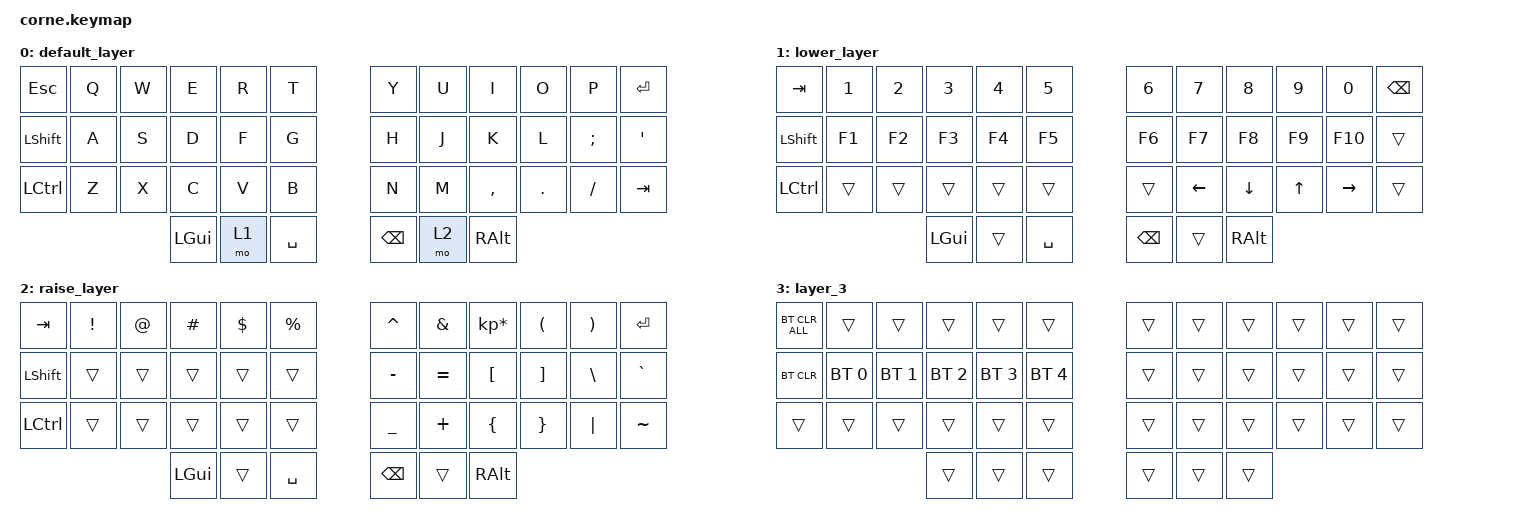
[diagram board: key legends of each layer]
/*
 * Copyright (c) 2020 The ZMK Contributors
 *
 * SPDX-License-Identifier: MIT
 */

#include <behaviors.dtsi>
#include <dt-bindings/zmk/bt.h>
#include <dt-bindings/zmk/keys.h>

/ {
    combos {
        compatible = "zmk,combos";

        layer3 {
            bindings = <&mo 3>;
            key-positions = <37 40>;
        };
    };

    keymap {
        compatible = "zmk,keymap";

        default_layer {
            // -----------------------------------------------------------------------------------------
            // |  TAB |  Q  |  W  |  E  |  R  |  T  |   |  Y  |  U   |  I  |  O  |  P  | BKSP |
            // | CTRL |  A  |  S  |  D  |  F  |  G  |   |  H  |  J   |  K  |  L  |  ;  |  '   |
            // | SHFT |  Z  |  X  |  C  |  V  |  B  |   |  N  |  M   |  ,  |  .  |  /  | ESC  |
            //                    | GUI | LWR | SPC |   | ENT | RSE  | ALT |

            bindings = <
&kp ESC           &kp Q  &kp W  &kp E     &kp R  &kp T        &kp Y          &kp U  &kp I      &kp O    &kp P     &kp ENTER
&kp LEFT_SHIFT    &kp A  &kp S  &kp D     &kp F  &kp G        &kp H          &kp J  &kp K      &kp L    &kp SEMI  &kp SQT
&kp LEFT_CONTROL  &kp Z  &kp X  &kp C     &kp V  &kp B        &kp N          &kp M  &kp COMMA  &kp DOT  &kp FSLH  &kp TAB
                                &kp LGUI  &mo 1  &kp SPACE    &kp BACKSPACE  &mo 2  &kp RALT
            >;
        };

        lower_layer {
            // -----------------------------------------------------------------------------------------
            // |  TAB |  1  |  2  |  3  |  4  |  5  |   |  6  |  7  |  8  |  9  |  0  | BKSP |
            // | BTCLR| BT1 | BT2 | BT3 | BT4 | BT5 |   | LFT | DWN |  UP | RGT |     |      |
            // | SHFT |     |     |     |     |     |   |     |     |     |     |     |      |
            //                    | GUI |     | SPC |   | ENT |     | ALT |

            bindings = <
&kp TAB           &kp N1  &kp N2  &kp N3    &kp N4  &kp N5       &kp N6         &kp N7          &kp N8    &kp N9        &kp N0     &kp BSPC
&kp LEFT_SHIFT    &kp F1  &kp F2  &kp F3    &kp F4  &kp F5       &kp F6         &kp F7          &kp F8    &kp F9        &kp F10    &trans
&kp LEFT_CONTROL  &trans  &trans  &trans    &trans  &trans       &trans         &kp LEFT_ARROW  &kp DOWN  &kp UP_ARROW  &kp RIGHT  &trans
                                  &kp LGUI  &trans  &kp SPACE    &kp BACKSPACE  &trans          &kp RALT
            >;
        };

        raise_layer {
            // -----------------------------------------------------------------------------------------
            // |  TAB |  !  |  @  |  #  |  $  |  %  |   |  ^  |  &  |  *  |  (  |  )  | BKSP |
            // | CTRL |     |     |     |     |     |   |  -  |  =  |  [  |  ]  |  \  |  `   |
            // | SHFT |     |     |     |     |     |   |  _  |  +  |  {  |  }  | "|" |  ~   |
            //                    | GUI |     | SPC |   | ENT |     | ALT |

            bindings = <
&kp TAB           &kp EXCL  &kp AT  &kp HASH  &kp DLLR  &kp PRCNT    &kp CARET      &kp AMPS   &kp KP_MULTIPLY  &kp LPAR  &kp RPAR  &kp ENTER
&kp LEFT_SHIFT    &trans    &trans  &trans    &trans    &trans       &kp MINUS      &kp EQUAL  &kp LBKT         &kp RBKT  &kp BSLH  &kp GRAVE
&kp LEFT_CONTROL  &trans    &trans  &trans    &trans    &trans       &kp UNDER      &kp PLUS   &kp LBRC         &kp RBRC  &kp PIPE  &kp TILDE
                                    &kp LGUI  &trans    &kp SPACE    &kp BACKSPACE  &trans     &kp RALT
            >;
        };

        layer_3 {
            bindings = <
&bt BT_CLR_ALL  &trans        &trans        &trans        &trans        &trans          &trans  &trans  &trans  &trans  &trans  &trans
&bt BT_CLR      &bt BT_SEL 0  &bt BT_SEL 1  &bt BT_SEL 2  &bt BT_SEL 3  &bt BT_SEL 4    &trans  &trans  &trans  &trans  &trans  &trans
&trans          &trans        &trans        &trans        &trans        &trans          &trans  &trans  &trans  &trans  &trans  &trans
                                            &trans        &trans        &trans          &trans  &trans  &trans
            >;
        };
    };
};
